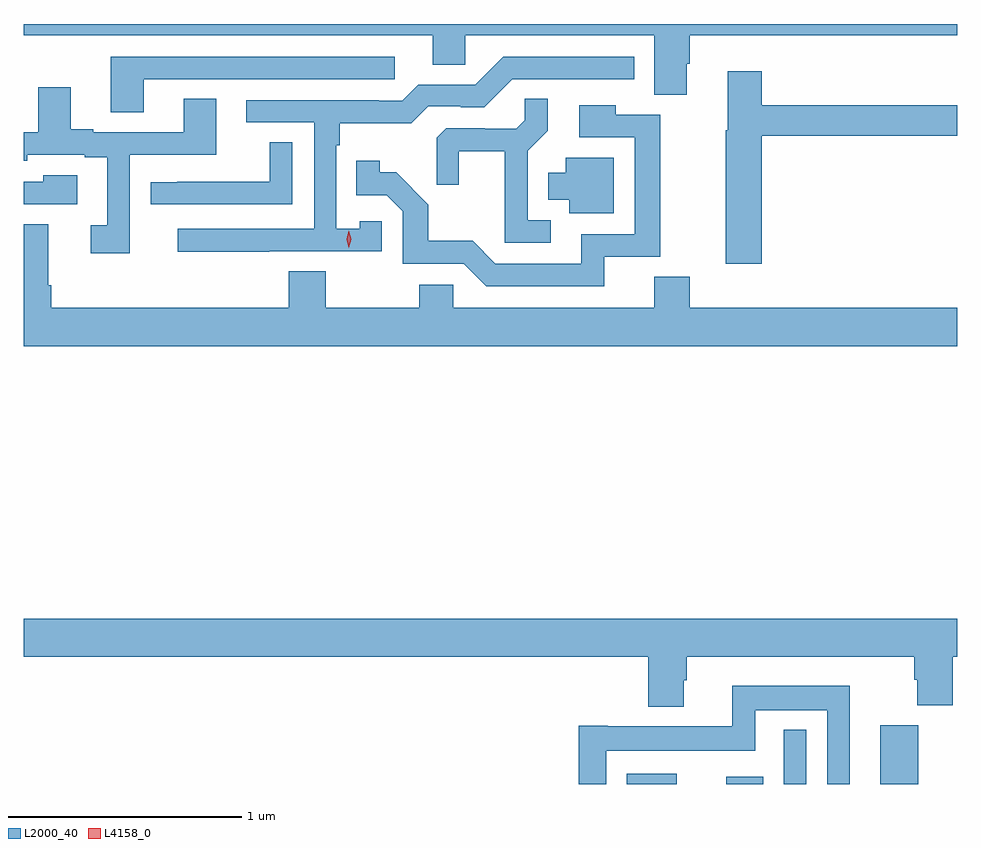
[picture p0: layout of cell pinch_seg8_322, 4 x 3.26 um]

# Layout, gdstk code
import gdstk
lib = gdstk.Library(unit=1e-6, precision=1e-09)
def R(c, l, rs):  # rectangles x0, y0, x1, y1
    for r in rs: c.add(gdstk.rectangle(r[:2], r[2:], *l))
def P(c, l, *ps):  # polygons
    for p in ps: c.add(gdstk.Polygon(p, *l))
L2000_40 = (2000, 40)
L4158_0 = (4158, 0)

pinch_seg8_322 = lib.new_cell('pinch_seg8_322')
R(pinch_seg8_322, L2000_40, [(472.832,1161.243,473.047,1161.286), (473.258,1161.243,473.416,1161.274), (473.505,1161.243,473.601,1161.475), (473.918,1161.243,474.082,1161.495)])
P(pinch_seg8_322, L2000_40, [(473.089,1164.33),(473.102,1164.33),(473.102,1164.452),(474.248,1164.452),(474.248,1164.5),(470.248,1164.5),(470.248,1164.452),(472.001,1164.452),(472.001,1164.325),(472.14,1164.325),(472.14,1164.452),(472.949,1164.452),(472.949,1164.196),(473.089,1164.196)],
  [(470.761,1164.264),(471.838,1164.264),(471.838,1164.36),(470.621,1164.36),(470.621,1164.121),(470.761,1164.121)],
  [(471.299,1163.526),(471.783,1163.526),(471.783,1163.655),(471.687,1163.655),(471.687,1163.623),(471.588,1163.623),(471.588,1163.981),(471.601,1163.981),(471.601,1164.074),(471.908,1164.074),(471.981,1164.147),(472.12,1164.147),(472.12,1164.144),(472.221,1164.144),(472.341,1164.264),(472.864,1164.264),(472.864,1164.36),(472.302,1164.36),(472.182,1164.24),(471.939,1164.24),(471.87,1164.171),(471.77,1164.171),(471.77,1164.174),(471.201,1164.174),(471.201,1164.078),(471.492,1164.078),(471.492,1163.622),(470.907,1163.622),(470.907,1163.524),(471.299,1163.524)],
  [(473.411,1164.022),(474.248,1164.022),(474.248,1164.151),(473.411,1164.151),(473.411,1164.298),(473.264,1164.298),(473.264,1164.045),(473.257,1164.045),(473.257,1163.472),(473.411,1163.472)],
  [(470.703,1163.94),(471.073,1163.94),(471.073,1164.179),(470.933,1164.179),(470.933,1164.036),(470.545,1164.036),(470.545,1164.049),(470.449,1164.049),(470.449,1164.229),(470.309,1164.229),(470.309,1164.036),(470.248,1164.036),(470.248,1163.913),(470.262,1163.913),(470.262,1163.94),(470.51,1163.94),(470.51,1163.928),(470.606,1163.928),(470.606,1163.637),(470.535,1163.637),(470.535,1163.517),(470.703,1163.517)],
  [(472.507,1163.658),(472.407,1163.658),(472.407,1163.957),(472.493,1164.043),(472.493,1164.179),(472.395,1164.179),(472.395,1164.088),(472.358,1164.051),(472.224,1164.051),(472.224,1164.054),(472.059,1164.054),(472.018,1164.013),(472.018,1163.811),(472.112,1163.811),(472.112,1163.954),(472.31,1163.954),(472.31,1163.562),(472.507,1163.562)],
  [(472.736,1163.502),(472.975,1163.502),(472.975,1164.111),(472.785,1164.111),(472.785,1164.151),(472.629,1164.151),(472.629,1164.015),(472.866,1164.015),(472.866,1163.598),(472.637,1163.598),(472.637,1163.472),(472.269,1163.472),(472.171,1163.571),(471.982,1163.571),(471.982,1163.726),(471.844,1163.864),(471.774,1163.864),(471.774,1163.914),(471.673,1163.914),(471.673,1163.766),(471.804,1163.766),(471.873,1163.697),(471.873,1163.472),(472.134,1163.472),(472.23,1163.376),(472.736,1163.376)],
  [(471.399,1163.993),(471.301,1163.993),(471.301,1163.823),(470.905,1163.823),(470.905,1163.822),(470.793,1163.822),(470.793,1163.727),(471.399,1163.727)],
  [(472.777,1163.926),(472.571,1163.926),(472.571,1163.863),(472.496,1163.863),(472.496,1163.747),(472.586,1163.747),(472.586,1163.69),(472.777,1163.69)],
  [(470.476,1163.851),(470.331,1163.851),(470.331,1163.823),(470.248,1163.823),(470.248,1163.727),(470.476,1163.727)],
  [(474.248,1163.284),(473.102,1163.284),(473.102,1163.417),(472.949,1163.417),(472.949,1163.284),(472.089,1163.284),(472.089,1163.382),(471.943,1163.382),(471.943,1163.284),(471.543,1163.284),(471.543,1163.441),(471.383,1163.441),(471.383,1163.284),(470.366,1163.284),(470.366,1163.38),(470.353,1163.38),(470.353,1163.641),(470.248,1163.641),(470.248,1163.12),(474.248,1163.12)],
  [(473.077,1161.687),(473.09,1161.687),(473.09,1161.788),(474.065,1161.788),(474.065,1161.689),(474.077,1161.689),(474.077,1161.58),(474.23,1161.58),(474.23,1161.788),(474.248,1161.788),(474.248,1161.952),(470.248,1161.952),(470.248,1161.788),(472.925,1161.788),(472.925,1161.575),(473.077,1161.575)],
  [(472.743,1161.386),(473.382,1161.386),(473.382,1161.56),(473.691,1161.56),(473.691,1161.243),(473.788,1161.243),(473.788,1161.664),(473.285,1161.664),(473.285,1161.49),(472.75,1161.49),(472.75,1161.493),(472.627,1161.493),(472.627,1161.243),(472.743,1161.243)])
P(pinch_seg8_322, L4158_0, [(471.641,1163.541),(471.641,1163.541),(471.631,1163.577),(471.641,1163.613),(471.641,1163.614),(471.641,1163.613),(471.651,1163.577),(471.641,1163.541)])

lib.write_gds('pinch_seg8_322.gds')
